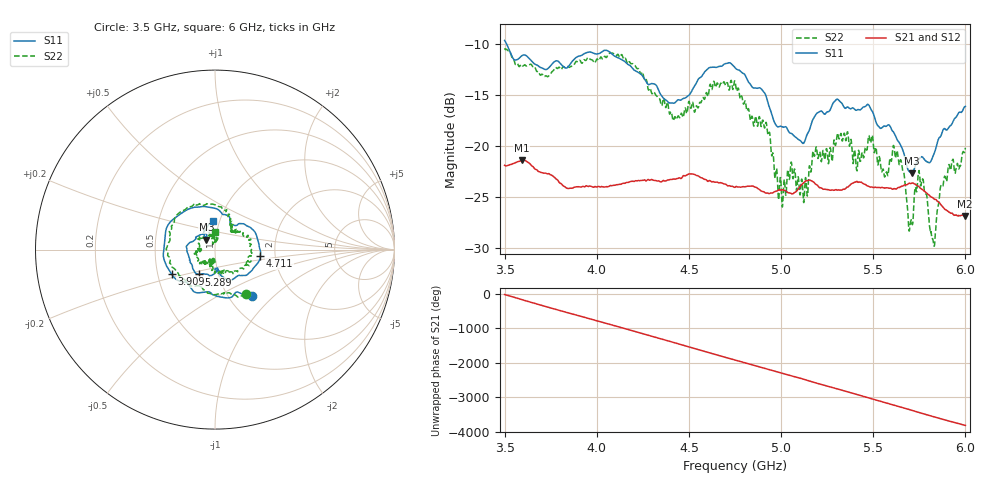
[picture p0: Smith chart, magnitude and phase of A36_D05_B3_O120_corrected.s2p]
! Created with skrf 1.9.0 (http://scikit-rf.org).
# Hz S RI R 50.0
!freq ReS11 ImS11 ReS21 ImS21 ReS12 ImS12 ReS22 ImS22
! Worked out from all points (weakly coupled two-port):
!   1601 points, 3.5 GHz to 6 GHz, reference 50 ohm
!   highest |S21| = -21.37 dB at 3.594 GHz (marker M1); lowest = -26.9 dB at 5.995 GHz (marker M2)
!   lowest |S11| = -22.6 dB at 5.711 GHz (marker M3), VSWR 1.16, Z = 45.1 + j5.08 ohm
!   |S11| at or under -10 dB: 3.512 GHz to end of sweep
!   |S22| runs from -29.8 to -10.4 dB; largest |S21 - S12| = 0.00091
!   S11 on the Smith chart (normalised r, x): 3.5 GHz: 1.28, -0.74; 3.909 GHz: 0.59, -0.17; 4.711 GHz: 1.67, -0.13; 5.289 GHz: 0.80, -0.23; 6 GHz: 0.94, +0.30
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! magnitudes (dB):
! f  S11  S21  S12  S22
! 3.5 GHz  -9.6  -21.9  -21.9  -10.4
! 3.594 GHz  -11.1  -21.4  -21.4  -12.0
! 3.909 GHz  -11.1  -24.0  -24.0  -11.6
! 3.917 GHz  -11.1  -24.0  -24.0  -11.8
! 4.127 GHz  -11.4  -23.7  -23.7  -11.2
! 4.334 GHz  -14.5  -23.4  -23.4  -15.3
! 4.425 GHz  -15.7  -23.2  -23.2  -17.1
! 4.711 GHz  -11.8  -23.9  -23.8  -13.9
! 4.75 GHz  -12.3  -24.0  -24.0  -13.6
! 4.928 GHz  -15.7  -24.6  -24.6  -18.9
! 4.997 GHz  -18.0  -24.3  -24.3  -23.1
! 5.133 GHz  -19.3  -23.4  -23.4  -23.1
! 5.167 GHz  -17.6  -23.4  -23.4  -21.6
! 5.289 GHz  -15.6  -24.3  -24.3  -19.5
! 5.584 GHz  -17.9  -24.1  -24.1  -22.1
! 5.641 GHz  -19.6  -24.0  -24.0  -21.8
! 5.711 GHz  -22.6  -23.6  -23.6  -27.7
! 5.756 GHz  -21.1  -24.1  -24.1  -23.9
! 5.827 GHz  -20.9  -25.1  -25.1  -29.4
! 5.875 GHz  -18.6  -25.9  -25.9  -23.9
! 5.995 GHz  -16.1  -26.9  -26.8  -20.6
! 6 GHz  -16.1  -26.8  -26.8  -20.2
